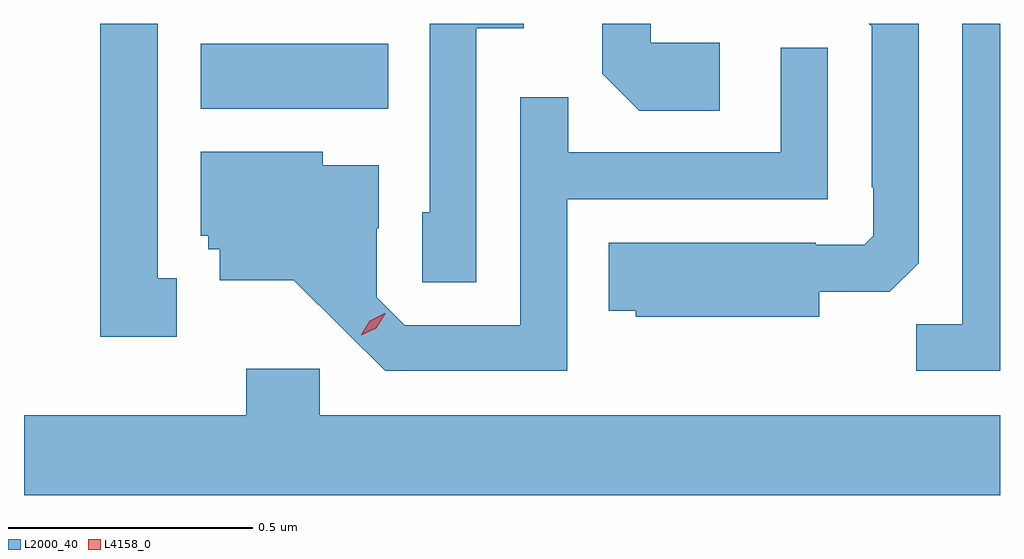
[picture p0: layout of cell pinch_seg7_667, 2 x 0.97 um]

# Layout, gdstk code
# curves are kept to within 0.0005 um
import gdstk
lib = gdstk.Library(unit=1e-6, precision=1e-09)
def R(c, l, rs):  # rectangles x0, y0, x1, y1
    for r in rs: c.add(gdstk.rectangle(r[:2], r[2:], *l))
def P(c, l, *ps):  # polygons
    for p in ps: c.add(gdstk.Polygon(p, *l))
L2000_40 = (2000, 40)
L4158_0 = (4158, 0)

pinch_seg7_667 = lib.new_cell('pinch_seg7_667')
R(pinch_seg7_667, L2000_40, [(143.144,1021.388,143.528,1021.522)])
P(pinch_seg7_667, L2000_40, [(143.095,1021.041),(143.056,1021.041),(143.056,1021.563),(142.938,1021.563),(142.938,1020.921),(143.095,1020.921)],
  [(144.208,1021.524),(144.066,1021.524),(144.066,1021.563),(143.967,1021.563),(143.967,1021.46),(144.043,1021.384),(144.208,1021.384)],
  [(144.782,1021.563),(144.705,1021.563),(144.705,1020.947),(144.61,1020.947),(144.61,1020.852),(144.782,1020.852)],
  [(144.412,1021.013),(144.556,1021.013),(144.615,1021.072),(144.615,1021.563),(144.513,1021.563),(144.519,1021.557),(144.519,1021.228),(144.522,1021.228),(144.522,1021.128),(144.504,1021.11),(144.404,1021.11),(144.404,1021.114),(143.98,1021.114),(143.98,1020.974),(144.036,1020.974),(144.036,1020.962),(144.412,1020.962)],
  [(143.709,1021.553),(143.806,1021.553),(143.806,1021.563),(143.613,1021.563),(143.613,1021.176),(143.598,1021.176),(143.598,1021.033),(143.709,1021.033)],
  [(143.895,1021.203),(144.429,1021.203),(144.429,1021.513),(144.333,1021.513),(144.333,1021.299),(143.897,1021.299),(143.897,1021.412),(143.799,1021.412),(143.799,1020.945),(143.562,1020.945),(143.505,1021.002),(143.505,1021.144),(143.509,1021.144),(143.509,1021.273),(143.394,1021.273),(143.394,1021.3),(143.144,1021.3),(143.144,1021.128),(143.16,1021.128),(143.16,1021.101),(143.183,1021.101),(143.183,1021.037),(143.335,1021.037),(143.522,1020.852),(143.895,1020.852)],
  [(144.782,1020.76),(143.388,1020.76),(143.388,1020.856),(143.237,1020.856),(143.237,1020.76),(142.782,1020.76),(142.782,1020.596),(144.782,1020.596)])
P(pinch_seg7_667, L4158_0, [(143.473,1020.924),(143.473,1020.925),(143.491,1020.954),(143.521,1020.969),(143.522,1020.969),(143.522,1020.968),(143.504,1020.939),(143.473,1020.924)])

lib.write_gds('pinch_seg7_667.gds')
